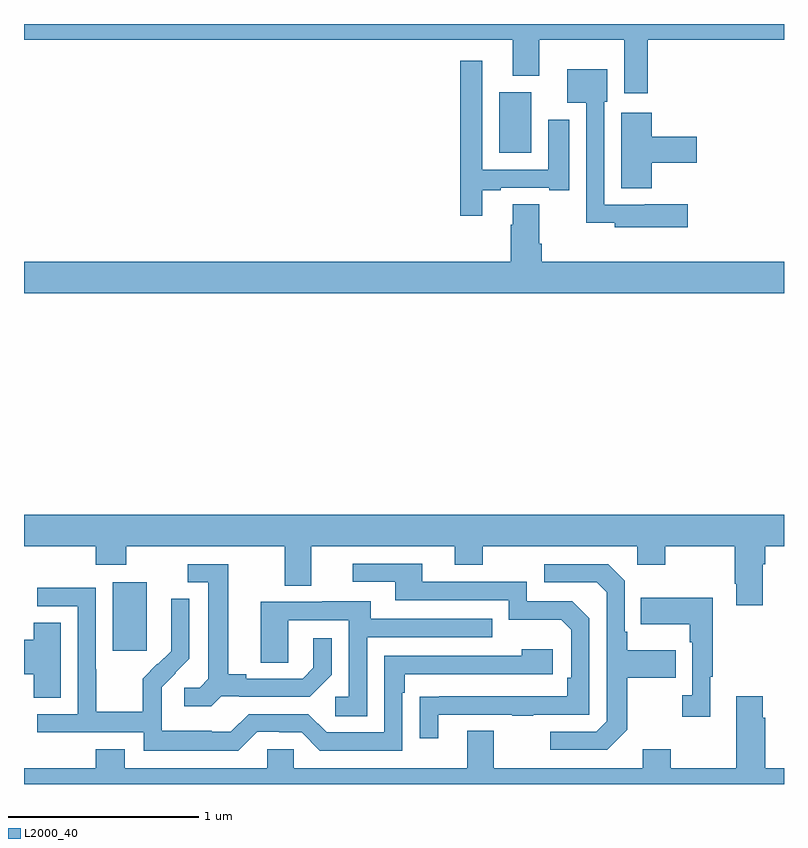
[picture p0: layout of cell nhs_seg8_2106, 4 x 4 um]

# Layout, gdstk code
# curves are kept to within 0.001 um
import gdstk
lib = gdstk.Library(unit=1e-6, precision=1e-09)
def R(c, l, rs):  # rectangles x0, y0, x1, y1
    for r in rs: c.add(gdstk.rectangle(r[:2], r[2:], *l))
def P(c, l, *ps):  # polygons
    for p in ps: c.add(gdstk.Polygon(p, *l))
L2000_40 = (2000, 40)

nhs_seg8_2106 = lib.new_cell('nhs_seg8_2106')
R(nhs_seg8_2106, L2000_40, [(243.467,1130.601,243.646,1130.962), (245.501,1133.222,245.671,1133.542)])
P(nhs_seg8_2106, L2000_40, [(246.284,1133.816),(247,1133.816),(247,1133.9),(243,1133.9),(243,1133.816),(245.573,1133.816),(245.573,1133.627),(245.713,1133.627),(245.713,1133.816),(246.158,1133.816),(246.158,1133.535),(246.284,1133.535)],
  [(245.413,1133.025),(245.509,1133.025),(245.509,1133.037),(245.765,1133.037),(245.765,1133.025),(245.869,1133.025),(245.869,1133.395),(245.759,1133.395),(245.759,1133.133),(245.412,1133.133),(245.412,1133.707),(245.296,1133.707),(245.296,1132.89),(245.413,1132.89)],
  [(246.493,1132.951),(246.266,1132.951),(246.266,1132.95),(246.054,1132.95),(246.054,1133.49),(246.07,1133.49),(246.07,1133.662),(245.858,1133.662),(245.858,1133.486),(245.958,1133.486),(245.958,1132.853),(246.108,1132.853),(246.108,1132.829),(246.493,1132.829)],
  [(246.305,1133.171),(246.541,1133.171),(246.541,1133.306),(246.305,1133.306),(246.305,1133.434),(246.143,1133.434),(246.143,1133.036),(246.305,1133.036)],
  [(247,1132.648),(245.726,1132.648),(245.726,1132.744),(245.713,1132.744),(245.713,1132.952),(245.573,1132.952),(245.573,1132.844),(245.561,1132.844),(245.561,1132.648),(243,1132.648),(243,1132.484),(247,1132.484)],
  [(246.889,1131.056),(246.902,1131.056),(246.902,1131.152),(247,1131.152),(247,1131.316),(243,1131.316),(243,1131.152),(243.377,1131.152),(243.377,1131.053),(243.537,1131.053),(243.537,1131.152),(244.373,1131.152),(244.373,1130.944),(244.513,1130.944),(244.513,1131.152),(245.267,1131.152),(245.267,1131.053),(245.415,1131.053),(245.415,1131.152),(246.228,1131.152),(246.228,1131.053),(246.375,1131.053),(246.375,1131.152),(246.742,1131.152),(246.742,1130.953),(246.749,1130.953),(246.749,1130.841),(246.889,1130.841)],
  [(245.179,1130.265),(245.569,1130.265),(245.569,1130.26),(245.681,1130.26),(245.681,1130.265),(245.976,1130.265),(245.976,1130.772),(245.886,1130.862),(245.646,1130.862),(245.646,1130.964),(245.095,1130.964),(245.095,1131.06),(244.731,1131.06),(244.731,1130.964),(244.955,1130.964),(244.955,1130.868),(245.55,1130.868),(245.55,1130.765),(245.827,1130.765),(245.88,1130.712),(245.88,1130.458),(245.86,1130.458),(245.86,1130.361),(245.083,1130.36),(245.083,1130.142),(245.179,1130.142)],
  [(246.175,1130.185),(246.175,1130.458),(246.431,1130.458),(246.431,1130.605),(246.175,1130.605),(246.175,1130.701),(246.162,1130.701),(246.162,1130.97),(246.075,1131.057),(245.739,1131.057),(245.739,1130.961),(246.015,1130.961),(246.066,1130.91),(246.066,1130.229),(246.012,1130.175),(245.769,1130.175),(245.769,1130.079),(246.069,1130.079)],
  [(244.038,1130.361),(244.132,1130.361),(244.132,1130.358),(244.504,1130.358),(244.62,1130.474),(244.62,1130.668),(244.523,1130.668),(244.523,1130.511),(244.466,1130.454),(244.171,1130.454),(244.171,1130.477),(244.075,1130.477),(244.075,1131.057),(243.861,1131.057),(243.861,1130.961),(243.971,1130.961),(243.971,1130.453),(243.924,1130.406),(243.843,1130.406),(243.843,1130.309),(243.986,1130.309)],
  [(244.227,1130.175),(244.343,1130.175),(244.343,1130.172),(244.461,1130.172),(244.557,1130.076),(244.992,1130.076),(244.992,1130.381),(245.005,1130.381),(245.005,1130.478),(245.782,1130.478),(245.782,1130.608),(245.621,1130.608),(245.621,1130.574),(244.896,1130.574),(244.896,1130.172),(244.593,1130.172),(244.497,1130.268),(244.182,1130.268),(244.089,1130.175),(243.989,1130.175),(243.989,1130.179),(243.726,1130.179),(243.726,1130.313),(243.724,1130.313),(243.724,1130.41),(243.87,1130.558),(243.87,1130.876),(243.774,1130.876),(243.774,1130.722),(243.776,1130.722),(243.776,1130.6),(243.705,1130.529),(243.702,1130.532),(243.625,1130.455),(243.625,1130.281),(243.381,1130.281),(243.381,1130.504),(243.378,1130.504),(243.378,1130.934),(243.069,1130.934),(243.069,1130.835),(243.282,1130.835),(243.282,1130.268),(243.069,1130.268),(243.069,1130.172),(243.63,1130.172),(243.63,1130.075),(244.127,1130.075)],
  [(246.613,1130.465),(246.625,1130.465),(246.625,1130.881),(246.247,1130.881),(246.247,1130.741),(246.504,1130.741),(246.504,1130.645),(246.516,1130.645),(246.516,1130.366),(246.465,1130.366),(246.465,1130.253),(246.613,1130.253)],
  [(244.806,1130.673),(245.465,1130.673),(245.465,1130.769),(244.825,1130.769),(244.825,1130.863),(244.571,1130.863),(244.571,1130.859),(244.247,1130.859),(244.247,1130.539),(244.392,1130.539),(244.392,1130.763),(244.71,1130.763),(244.71,1130.358),(244.638,1130.358),(244.638,1130.257),(244.806,1130.257)],
  [(243.193,1130.75),(243.05,1130.75),(243.05,1130.66),(243,1130.66),(243,1130.477),(243.05,1130.477),(243.05,1130.353),(243.193,1130.353)],
  [(247,1129.984),(246.902,1129.984),(246.902,1130.249),(246.889,1130.249),(246.889,1130.362),(246.749,1130.362),(246.749,1129.984),(246.405,1129.984),(246.405,1130.083),(246.257,1130.083),(246.257,1129.984),(245.473,1129.984),(245.473,1130.179),(245.333,1130.179),(245.333,1129.984),(244.419,1129.984),(244.419,1130.082),(244.281,1130.082),(244.281,1129.984),(243.529,1129.984),(243.529,1130.083),(243.377,1130.083),(243.377,1129.984),(243,1129.984),(243,1129.9),(247,1129.9)])

lib.write_gds('nhs_seg8_2106.gds')
